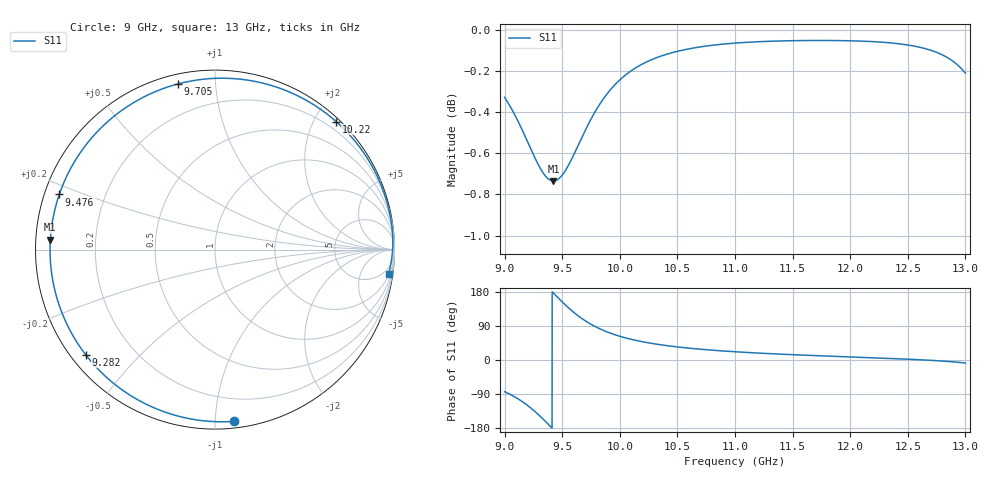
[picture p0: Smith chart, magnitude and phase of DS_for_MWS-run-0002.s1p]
! TOUCHSTONE file generated by CST DESIGN STUDIO
! Date and time: Tue Feb  4 17:54:01 2025
! Project name: C:\Work\MatlabApps\UnitCellOptimizationMatlab\CST\unitcell.cst
! Tree item: Tasks\Sweep1\SPara1\S-Parameters
! Header version: 2024
! Port assignment regex: !\s*Touchstone port\s*([0-9]+)\s*=\s*(CST MWS port|CST DES external port|CST DES block port)\s*(.+)\s* \(\"(.*)\"\)(\s*mode\s*([0-9]+))?.*
! Touchstone port assignment:
! Touchstone port 1 = CST DES external port 1 ("")
# GHz S MA R 50
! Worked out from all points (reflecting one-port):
!   4001 points, 9 GHz to 13 GHz, reference 50 ohm
!   lowest |S11| = -0.7 dB at 9.424 GHz (marker M1), VSWR 23.68, Z = 2.11 + j1.51 ohm
!   phase of S11 starts at -84 deg and turns -284 deg over the sweep
!   S11 on the Smith chart (normalised r, x): 9 GHz: 0.04, -1.12; 9.282 GHz: 0.04, -0.35; 9.476 GHz: 0.04, +0.17; 9.705 GHz: 0.05, +0.80; 10.22 GHz: 0.06, +2.32; 13 GHz: 2, -14
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9  0.963 -83.6
9.085  0.954 -96.8
9.156  0.9451 -110.3
9.22  0.9365 -124.8
9.282  0.9285 -140.9
9.357  0.9213 -162.7
9.391  0.9195 -173.2
9.424  0.919 176.5
9.476  0.9204 160.5
9.5  0.9219 153.3
9.551  0.9267 138.7
9.6  0.9325 125.8
9.651  0.9391 113.7
9.705  0.9459 102.5
9.77  0.9535 90.9
9.848  0.9613 79.4
9.921  0.9672 70.5
10  0.9724 62.6
10.105  0.9777 54.2
10.225  0.982 46.6
10.5  0.9881 34.4
10.723  0.9908 27.8
11  0.9926 21.7
11.5  0.994 14.0
12  0.9939 8.1
12.5  0.9916 2.2
12.784  0.9866 -2.4
13  0.9761 -7.9
